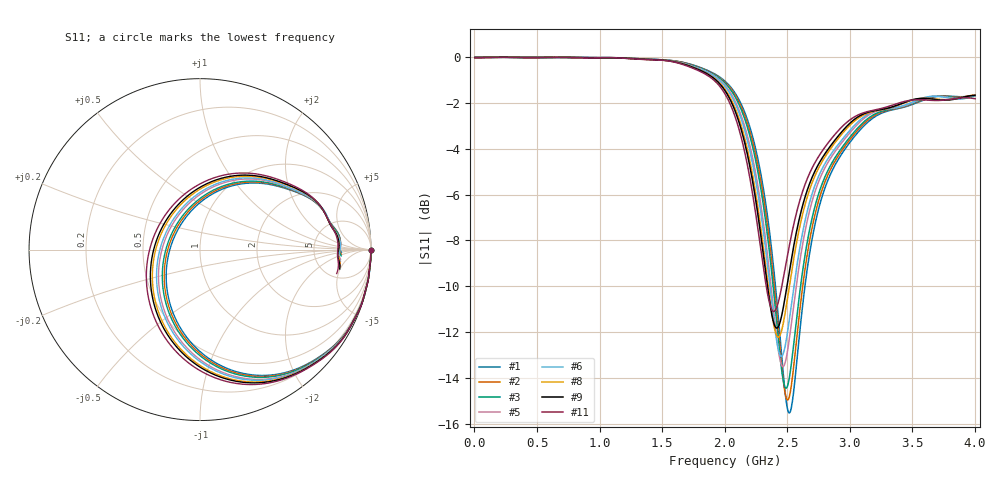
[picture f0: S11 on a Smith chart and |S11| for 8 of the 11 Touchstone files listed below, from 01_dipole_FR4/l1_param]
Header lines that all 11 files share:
! TOUCHSTONE file generated by CST MICROWAVE STUDIO
! Project name: AppElm_antenne_dipole_FR4.cst
! Header version: 2018
! Port assignment regex: !\s*Touchstone port\s*([0-9]+)\s*=\s*(CST MWS port|CST DS port)\s*([0-9]+|Zmin|Zmax)\s*\(\"(.*)\"\)(\s*mode\s*([0-9]+))?.*
! Touchstone port assignment:
! Touchstone port 1 = CST MWS port 1 ("")
# GHz S MA R 50
Fixed: L = 38.8, e = 0.035, f = 2.45e+09, h = 1.6, i = 0.8, lambda = 122.449, ls = 30, wl = 1.7, ws = 80
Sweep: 4 MHz to 4 GHz
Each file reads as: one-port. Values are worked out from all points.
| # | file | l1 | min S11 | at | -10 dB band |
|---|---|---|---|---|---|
| 1 | AppElm_antenne_dipole_FR4_1.s1p | 3 | -15.5 dB | 2.516 GHz | 235.5 MHz wide |
| 2 | AppElm_antenne_dipole_FR4_2.s1p | 3.2 | -15.0 dB | 2.504 GHz | 227.4 MHz wide |
| 3 | AppElm_antenne_dipole_FR4_3.s1p | 3.4 | -14.5 dB | 2.488 GHz | 219.4 MHz wide |
| 4 | AppElm_antenne_dipole_FR4_4.s1p | 3.6 | -14.0 dB | 2.476 GHz | 210.8 MHz wide |
| 5 | AppElm_antenne_dipole_FR4_5.s1p | 3.8 | -13.5 dB | 2.464 GHz | 201.8 MHz wide |
| 6 | AppElm_antenne_dipole_FR4_6.s1p | 4 | -13.1 dB | 2.452 GHz | 191.5 MHz wide |
| 7 | AppElm_antenne_dipole_FR4_7.s1p | 4.2 | -12.6 dB | 2.44 GHz | 181.1 MHz wide |
| 8 | AppElm_antenne_dipole_FR4_8.s1p | 4.4 | -12.2 dB | 2.428 GHz | 169 MHz wide |
| 9 | AppElm_antenne_dipole_FR4_9.s1p | 4.6 | -11.8 dB | 2.416 GHz | 155.6 MHz wide |
| 10 | AppElm_antenne_dipole_FR4_10.s1p | 4.8 | -11.4 dB | 2.404 GHz | 140.1 MHz wide |
| 11 | AppElm_antenne_dipole_FR4_11.s1p | 5 | -11.1 dB | 2.392 GHz | 124.7 MHz wide |
